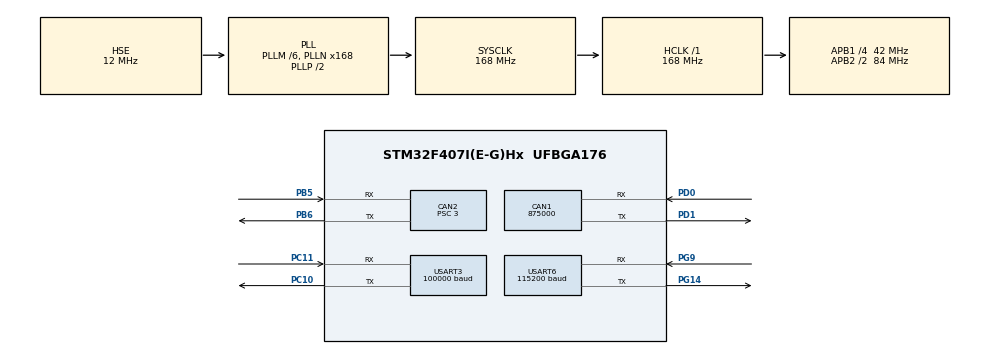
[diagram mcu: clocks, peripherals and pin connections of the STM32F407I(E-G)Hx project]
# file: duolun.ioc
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CAN1.CalculateBaudRate=875000
CAN1.CalculateTimeBit=1142
CAN1.CalculateTimeQuantum=380.95238095238096
CAN2.BS1=CAN_BS1_11TQ
CAN2.BS2=CAN_BS2_2TQ
CAN2.CalculateBaudRate=1000000
CAN2.CalculateTimeBit=1000
CAN2.CalculateTimeQuantum=71.42857142857143
CAN2.Prescaler=3
Dma.Request0=USART3_RX
Dma.Request1=USART6_RX
Dma.USART3_RX.0.Direction=DMA_PERIPH_TO_MEMORY
Dma.USART3_RX.0.FIFOMode=DMA_FIFOMODE_DISABLE
Dma.USART3_RX.0.Instance=DMA1_Stream1
Dma.USART3_RX.0.MemDataAlignment=DMA_MDATAALIGN_BYTE
Dma.USART3_RX.0.MemInc=DMA_MINC_ENABLE
Dma.USART3_RX.0.Mode=DMA_NORMAL
Dma.USART3_RX.0.PeriphDataAlignment=DMA_PDATAALIGN_BYTE
Dma.USART3_RX.0.PeriphInc=DMA_PINC_DISABLE
Dma.USART3_RX.0.Priority=DMA_PRIORITY_HIGH
Dma.USART6_RX.1.Direction=DMA_PERIPH_TO_MEMORY
Dma.USART6_RX.1.FIFOMode=DMA_FIFOMODE_DISABLE
Dma.USART6_RX.1.Instance=DMA2_Stream1
Dma.USART6_RX.1.MemDataAlignment=DMA_MDATAALIGN_BYTE
Dma.USART6_RX.1.MemInc=DMA_MINC_ENABLE
Dma.USART6_RX.1.Mode=DMA_NORMAL
Dma.USART6_RX.1.PeriphDataAlignment=DMA_PDATAALIGN_BYTE
Dma.USART6_RX.1.PeriphInc=DMA_PINC_DISABLE
Dma.USART6_RX.1.Priority=DMA_PRIORITY_HIGH
Mcu.Family=STM32F4
Mcu.Name=STM32F407I(E-G)Hx
Mcu.Package=UFBGA176
NVIC.CAN2_RX0_IRQn=true\:0\:0\:false\:false\:true\:true\:true\:true
NVIC.CAN1_RX0_IRQn=true\:0\:0\:false\:false\:true\:true\:true\:true
NVIC.DMA1_Stream1_IRQn=true\:0\:0\:false\:false\:true\:false\:true\:true
NVIC.DMA2_Stream1_IRQn=true\:5\:0\:true\:false\:true\:false\:true\:true
NVIC.PriorityGroup=NVIC_PRIORITYGROUP_4
NVIC.USART3_IRQn=true\:0\:0\:false\:false\:true\:true\:true\:true
NVIC.USART6_IRQn=true\:5\:0\:true\:false\:true\:false\:true\:true
PA13.Mode=Serial_Wire
PA13.Signal=SYS_JTMS-SWDIO
PA14.Mode=Serial_Wire
PA14.Signal=SYS_JTCK-SWCLK
PB5.Mode=CAN_Activate
PB5.Signal=CAN2_RX
PB6.Mode=CAN_Activate
PB6.Signal=CAN2_TX
PD0.Mode=CAN_Activate
PD0.Signal=CAN1_RX
PD1.Mode=CAN_Activate
PD1.Signal=CAN1_TX
PC10.Mode=Asynchronous
PC10.Signal=USART3_TX
PC11.Mode=Asynchronous
PC11.Signal=USART3_RX
PG14.Mode=Asynchronous
PG14.Signal=USART6_TX
PG9.Mode=Asynchronous
PG9.Signal=USART6_RX
PH0-OSC_IN.Mode=HSE-External-Oscillator
PH0-OSC_IN.Signal=RCC_OSC_IN
PH1-OSC_OUT.Mode=HSE-External-Oscillator
PH1-OSC_OUT.Signal=RCC_OSC_OUT
ProjectManager.HeapSize=0x200
ProjectManager.StackSize=0x400
ProjectManager.TargetToolchain=CMake
RCC.48MHZClocksFreq_Value=48000000
RCC.AHBFreq_Value=168000000
RCC.APB1CLKDivider=RCC_HCLK_DIV4
RCC.APB1Freq_Value=42000000
RCC.APB1TimFreq_Value=84000000
RCC.APB2CLKDivider=RCC_HCLK_DIV2
RCC.APB2Freq_Value=84000000
RCC.APB2TimFreq_Value=168000000
RCC.CortexFreq_Value=168000000
RCC.HCLKFreq_Value=168000000
RCC.HSE_VALUE=12000000
RCC.HSEState=RCC_HSE_ON
RCC.HSI_VALUE=16000000
RCC.LSE_VALUE=32768
RCC.PLLM=6
RCC.PLLN=168
RCC.PLLQ=7
RCC.PLLSourceVirtual=RCC_PLLSOURCE_HSE
RCC.SYSCLKFreq_VALUE=168000000
RCC.SYSCLKSource=RCC_SYSCLKSOURCE_PLLCLK
RCC.VCOOutputFreq_Value=336000000
USART3.BaudRate=100000
USART3.Parity=PARITY_EVEN
USART3.VirtualMode=VM_ASYNC
USART3.WordLength=WORDLENGTH_9B
USART6.BaudRate=115200
USART6.VirtualMode=VM_ASYNC
board=custom

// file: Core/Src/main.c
/* USER CODE BEGIN Header */
/**
  ******************************************************************************
  * @file           : main.c
  * @brief          : Main program body
  ******************************************************************************
  * @attention
  *
  * Copyright (c) 2026 STMicroelectronics.
  * All rights reserved.
  *
  * This software is licensed under terms that can be found in the LICENSE file
  * in the root directory of this software component.
  * If no LICENSE file comes with this software, it is provided AS-IS.
  *
  ******************************************************************************
  */
/* USER CODE END Header */
#include "main.h"
#include "can.h"
#include "dma.h"
#include "usart.h"
#include "gpio.h"

/* USER CODE BEGIN PV */
volatile uint32_t clock_status = 0; /* 2 = running on the 12 MHz HSE, 1 = HSE failed (HSI) */
/* USER CODE END PV */

void SystemClock_Config(void);
/* USER CODE BEGIN PFP */
extern void UserInit(void);
extern void UserMain(void);
/* USER CODE END PFP */

/* USER CODE BEGIN 0 */

static HAL_StatusTypeDef Clock_ConfigureHsi168MHz(void)
{
  RCC_OscInitTypeDef osc = {0};

  osc.OscillatorType = RCC_OSCILLATORTYPE_HSI;
  osc.HSIState = RCC_HSI_ON;
  osc.HSICalibrationValue = RCC_HSICALIBRATION_DEFAULT;
  osc.PLL.PLLState = RCC_PLL_ON;
  osc.PLL.PLLSource = RCC_PLLSOURCE_HSI;
  osc.PLL.PLLM = 8;
  osc.PLL.PLLN = 168;
  osc.PLL.PLLP = RCC_PLLP_DIV2;
  osc.PLL.PLLQ = 7;

  return HAL_RCC_OscConfig(&osc);
}

static HAL_StatusTypeDef Clock_SwitchToHsi(void)
{
  uint32_t tickstart;

  if (__HAL_RCC_GET_SYSCLK_SOURCE() == RCC_CFGR_SWS_HSI)
  {
    return HAL_OK;
  }

  __HAL_RCC_SYSCLK_CONFIG(RCC_SYSCLKSOURCE_HSI);
  tickstart = HAL_GetTick();
  while (__HAL_RCC_GET_SYSCLK_SOURCE() != RCC_CFGR_SWS_HSI)
  {
    if ((HAL_GetTick() - tickstart) > CLOCKSWITCH_TIMEOUT_VALUE)
    {
      return HAL_TIMEOUT;
    }
  }

  return HAL_OK;
}

/* USER CODE END 0 */

int main(void)
{

  /* MCU Configuration--------------------------------------------------------*/

  /* Reset of all peripherals, Initializes the Flash interface and the Systick. */
  HAL_Init();

  /* Configure the system clock */
  SystemClock_Config();

  /* Initialize all configured peripherals */
  MX_GPIO_Init();
  MX_DMA_Init();
  MX_CAN2_Init();
  MX_USART3_UART_Init();
  MX_CAN1_Init();
  MX_USART6_UART_Init();
  /* USER CODE BEGIN 2 */
  UserInit();
  /* USER CODE END 2 */

  /* Infinite loop */
  while (1)
  {

    /* USER CODE BEGIN 3 */
    UserMain();
    HAL_Delay(1);
  }
  /* USER CODE END 3 */
}

void SystemClock_Config(void)
{
  RCC_OscInitTypeDef RCC_OscInitStruct = {0};
  RCC_ClkInitTypeDef RCC_ClkInitStruct = {0};
  HAL_StatusTypeDef hal_status;

  /** Configure the main internal regulator output voltage
  */
  __HAL_RCC_PWR_CLK_ENABLE();
  __HAL_PWR_VOLTAGESCALING_CONFIG(PWR_REGULATOR_VOLTAGE_SCALE1);

  /** Initializes the RCC Oscillators according to the specified parameters
  * in the RCC_OscInitTypeDef structure.
  */
  clock_status = 0;
  RCC_OscInitStruct.OscillatorType = RCC_OSCILLATORTYPE_HSE;
  RCC_OscInitStruct.HSEState = RCC_HSE_ON;
  RCC_OscInitStruct.PLL.PLLState = RCC_PLL_ON;
  RCC_OscInitStruct.PLL.PLLSource = RCC_PLLSOURCE_HSE;
  RCC_OscInitStruct.PLL.PLLM = 6;
  RCC_OscInitStruct.PLL.PLLN = 168;
  RCC_OscInitStruct.PLL.PLLP = RCC_PLLP_DIV2;
  RCC_OscInitStruct.PLL.PLLQ = 7;

  hal_status = HAL_RCC_OscConfig(&RCC_OscInitStruct);
  if (hal_status != HAL_OK)
  {
    clock_status = 1;
    hal_status = Clock_SwitchToHsi();
    if (hal_status == HAL_OK)
    {
      hal_status = Clock_ConfigureHsi168MHz();
    }
    if (hal_status != HAL_OK)
    {
      Error_Handler();
    }
  }
  else
  {
    clock_status = 2;
  }

  /** Initializes the CPU, AHB and APB buses clocks
  */
  RCC_ClkInitStruct.ClockType = RCC_CLOCKTYPE_HCLK|RCC_CLOCKTYPE_SYSCLK
                              |RCC_CLOCKTYPE_PCLK1|RCC_CLOCKTYPE_PCLK2;
  RCC_ClkInitStruct.SYSCLKSource = RCC_SYSCLKSOURCE_PLLCLK;
  RCC_ClkInitStruct.AHBCLKDivider = RCC_SYSCLK_DIV1;
  RCC_ClkInitStruct.APB1CLKDivider = RCC_HCLK_DIV4;
  RCC_ClkInitStruct.APB2CLKDivider = RCC_HCLK_DIV2;

  hal_status = HAL_RCC_ClockConfig(&RCC_ClkInitStruct, FLASH_LATENCY_5);
  if (hal_status != HAL_OK)
  {
    clock_status = 1;
    hal_status = Clock_SwitchToHsi();
    if (hal_status == HAL_OK)
    {
      hal_status = Clock_ConfigureHsi168MHz();
    }
    if (hal_status == HAL_OK)
    {
      hal_status = HAL_RCC_ClockConfig(&RCC_ClkInitStruct, FLASH_LATENCY_5);
    }
    if (hal_status != HAL_OK)
    {
      Error_Handler();
    }
  }

  SystemCoreClockUpdate();
  if (HAL_RCC_GetHCLKFreq() != 168000000U)
  {
    Error_Handler();
  }
}

void Error_Handler(void)
{
  __disable_irq();
  while (1)
  {
  }
}
